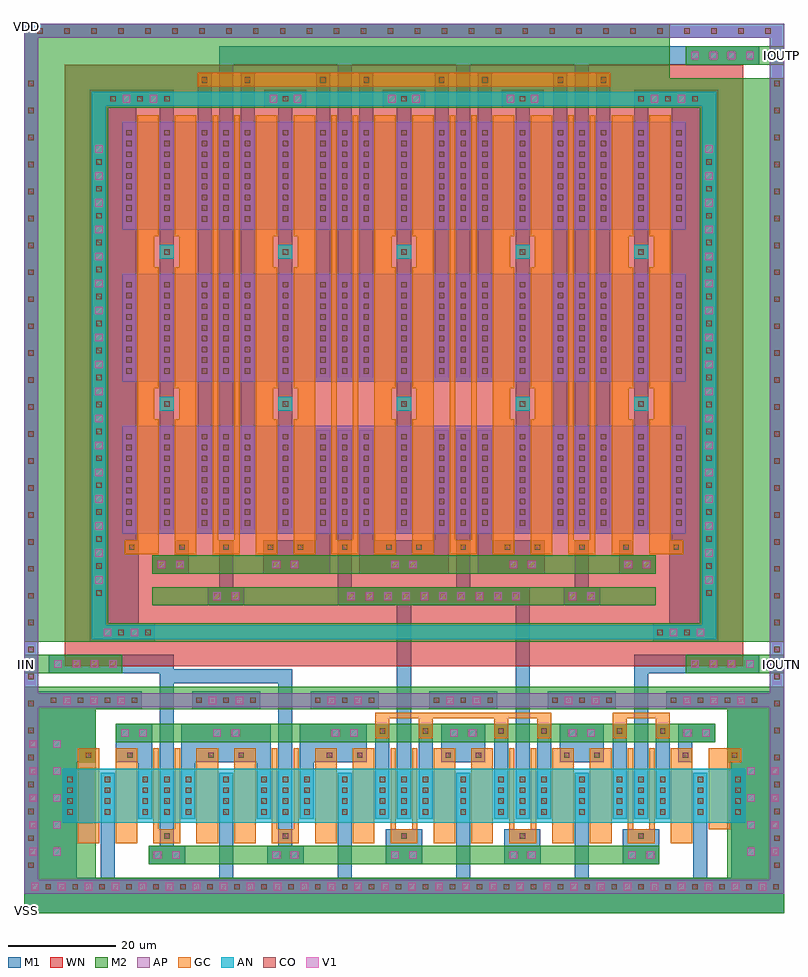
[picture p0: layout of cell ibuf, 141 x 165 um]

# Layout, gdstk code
import gdstk
lib = gdstk.Library(unit=1e-6, precision=1e-07)
def R(c, l, rs):  # rectangles x0, y0, x1, y1
    for r in rs: c.add(gdstk.rectangle(r[:2], r[2:], *l))
def A(c, l, x, y, w, h, nx, ny, dx, dy):  # array of equal rectangles
    R(c, l, [(x+i*dx, y+j*dy, x+i*dx+w, y+j*dy+h) for i in range(nx) for j in range(ny)])
def P(c, l, *ps):  # polygons
    for p in ps: c.add(gdstk.Polygon(p, *l))
AP = (3, 1)
AN = (3, 2)
GC = (8, 1)
CO = (11, 0)
M1 = (13, 0)
V1 = (19, 0)
M2 = (20, 0)
WN = (140, 0)

fet_n_2 = lib.new_cell('fet_n$2')
R(fet_n_2, AN, [(-5.3,-5,5.3,5)])
A(fet_n_2, CO, -4.5, -3.5, 1, 1, 3, 4, 4, 2)
A(fet_n_2, M1, -5.3, -4.3, 2.6, 8.6, 3, 1, 4, 0)
fet_n_2.add(gdstk.FlexPath([(2,-6.2),(2,6.2)], 1, ends="flush", simple_path=True, layer=8, datatype=1))  # GC
fet_n_2.add(gdstk.FlexPath([(-2,-6.2),(-2,6.2)], 1, ends="flush", simple_path=True, layer=8, datatype=1))  # GC

via_1 = lib.new_cell('via_1')
R(via_1, M1, [(-1.7,-1.7,1.7,1.7)])
R(via_1, V1, [(-0.7,-0.7,0.7,0.7)])
R(via_1, M2, [(-1.7,-1.7,1.7,1.7)])

cont_p = lib.new_cell('cont_p')
R(cont_p, AP, [(-1.3,-1.3,1.3,1.3)])
R(cont_p, CO, [(-0.5,-0.5,0.5,0.5)])
R(cont_p, M1, [(-1.3,-1.3,1.3,1.3)])

fet_p = lib.new_cell('fet_p')
R(fet_p, AP, [(-4.8,-10,4.8,10)])
A(fet_p, CO, -4, -8.5, 1, 1, 1, 9, 0, 2)
A(fet_p, CO, 3, -8.5, 1, 1, 1, 9, 0, 2)
R(fet_p, M1, [(-4.8,-9.3,-2.2,9.3), (2.2,-9.3,4.8,9.3)])
fet_p.add(gdstk.FlexPath([(0,-11.2),(0,11.2)], 4, ends="flush", simple_path=True, layer=8, datatype=1))  # GC

fet_p_2 = lib.new_cell('fet_p$2')
R(fet_p_2, AP, [(-5.3,-10,5.3,10)])
A(fet_p_2, CO, -4.5, -8.5, 1, 1, 3, 9, 4, 2)
A(fet_p_2, M1, -5.3, -9.3, 2.6, 18.6, 3, 1, 4, 0)
fet_p_2.add(gdstk.FlexPath([(2,-11.2),(2,11.2)], 1, ends="flush", simple_path=True, layer=8, datatype=1))  # GC
fet_p_2.add(gdstk.FlexPath([(-2,-11.2),(-2,11.2)], 1, ends="flush", simple_path=True, layer=8, datatype=1))  # GC

cont_n = lib.new_cell('cont_n')
R(cont_n, AN, [(-1.3,-1.3,1.3,1.3)])
R(cont_n, CO, [(-0.5,-0.5,0.5,0.5)])
R(cont_n, M1, [(-1.3,-1.3,1.3,1.3)])

cont_g = lib.new_cell('cont_g')
R(cont_g, GC, [(-1.3,-1.3,1.3,1.3)])
R(cont_g, CO, [(-0.5,-0.5,0.5,0.5)])
R(cont_g, M1, [(-1.3,-1.3,1.3,1.3)])

fet_n = lib.new_cell('fet_n')
R(fet_n, AN, [(-4.8,-5,4.8,5)])
A(fet_n, CO, -4, -3.5, 1, 1, 1, 4, 0, 2)
A(fet_n, CO, 3, -3.5, 1, 1, 1, 4, 0, 2)
R(fet_n, M1, [(-4.8,-4.3,-2.2,4.3), (2.2,-4.3,4.8,4.3)])
fet_n.add(gdstk.FlexPath([(0,-6.2),(0,6.2)], 4, ends="flush", simple_path=True, layer=8, datatype=1))  # GC

ibuf = lib.new_cell('ibuf')
P(ibuf, AP, [(0,3.6),(0,38.2),(2.6,38.2),(2.6,6.2),(138.4,6.2),(138.4,38.2),(0,38.2),(0,162.4),(2.6,162.4),(2.6,40.8),(138.4,40.8),(138.4,162.4),(0,162.4),(0,165),(141,165),(141,3.6)])
P(ibuf, AN, [(12.6,50.8),(12.6,149.8),(15.2,149.8),(15.2,53.4),(125.8,53.4),(125.8,149.8),(12.6,149.8),(12.6,152.4),(128.4,152.4),(128.4,50.8)])
R(ibuf, GC, [(10,13,14,30.6), (17,13,21,30.6), (32,13,36,30.6), (39,13,43,30.6), (54,13,58,30.6), (61,13,65,30.6), (76,13,80,30.6), (83,13,87,30.6), (98,13,102,30.6), (105,13,109,30.6), (120,13,124,30.6), (127,28,131,30.6), (21,66.6,25,69.2), (28,66.6,32,69.2), (43,66.6,47,69.2), (50,66.6,54,69.2), (65,66.6,69,69.2), (72,66.6,76,69.2), (87,66.6,91,69.2), (94,66.6,98,69.2), (109,66.6,113,69.2), (116,66.6,120,69.2), (21,91.6,24.2,125.6), (28.8,91.6,32,125.6), (43,91.6,46.2,125.6), (50.8,91.6,54,125.6), (65,91.6,68.2,125.6), (72.8,91.6,76,125.6), (87,91.6,90.2,125.6), (94.8,91.6,98,125.6), (109,91.6,112.2,125.6), (116.8,91.6,120,125.6), (32.2,153.3,108.8,155.9)])
P(ibuf, GC, [(24,13),(24,30.6),(25,30.6),(25,15.6),(28,15.6),(28,30.6),(29,30.6),(29,13)],
  [(35,66.6),(35,125.6),(36,125.6),(36,69.2),(39,69.2),(39,125.6),(40,125.6),(40,66.6)],
  [(65.2,32.5),(65.2,37.2),(97.8,37.2),(97.8,32.5),(95.2,32.5),(95.2,36.2),(89.8,36.2),(89.8,32.5),(87.2,32.5),(87.2,36.2),(75.8,36.2),(75.8,32.5),(73.2,32.5),(73.2,36.2),(67.8,36.2),(67.8,32.5)],
  [(101,66.6),(101,125.6),(102,125.6),(102,69.2),(105,69.2),(105,125.6),(106,125.6),(106,66.6)],
  [(46,13),(46,30.6),(47,30.6),(47,15.6),(50,15.6),(50,30.6),(51,30.6),(51,13)],
  [(68,13),(68,30.6),(69,30.6),(69,15.6),(72,15.6),(72,30.6),(73,30.6),(73,13)],
  [(90,13),(90,30.6),(91,30.6),(91,15.6),(94,15.6),(94,30.6),(95,30.6),(95,13)],
  [(112,13),(112,30.6),(113,30.6),(113,15.6),(116,15.6),(116,30.6),(117,30.6),(117,13)],
  [(109.2,32.5),(109.2,37.2),(119.8,37.2),(119.8,32.5),(117.2,32.5),(117.2,36.2),(111.8,36.2),(111.8,32.5)],
  [(79,66.6),(79,125.6),(80,125.6),(80,69.2),(83,69.2),(83,125.6),(84,125.6),(84,66.6)],
  [(57,66.6),(57,125.6),(58,125.6),(58,69.2),(61,69.2),(61,125.6),(62,125.6),(62,66.6)])
A(ibuf, M1, 14.2, 6.6, 2.6, 10.9, 6, 1, 22, 0)
A(ibuf, M1, 31.2, 37.8, 12.6, 3.4, 4, 1, 22, 0)
A(ibuf, M1, 25.2, 89.7, 2.6, 63.1, 5, 1, 22, 0)
R(ibuf, M1, [(67.1,9.1,73.9,15.6), (89.1,9.1,95.8,15.6), (111.1,9.1,117.9,15.6), (65.2,26.1,67.8,35.1), (73.2,26.1,75.8,35.1), (87.2,26.1,89.8,35.1), (95.2,26.1,97.8,35.1), (109.2,26.1,111.8,35.1), (117.2,26.1,119.8,35.1), (77.4,28,85.6,35.1), (99.4,28,107.6,35.1), (121.4,28,124,35.1), (36.2,57.1,38.8,69.2), (102.2,57.1,104.8,69.2), (28,63,30.6,69.2), (110.4,63,113,69.2), (32.2,89.7,34.8,155.9), (40.2,89.7,42.8,155.9), (98.2,89.7,100.8,155.9), (106.2,89.7,108.8,155.9), (54.2,117.9,56.8,155.9), (62.2,117.9,64.8,155.9), (76.2,117.9,78.8,155.9), (84.2,117.9,86.8,155.9)])
P(ibuf, M1, [(25.2,9.1),(25.2,44.5),(4.6,44.5),(4.6,47.9),(27.8,47.9),(27.8,45.3),(49.8,45.3),(49.8,9.1),(47.2,9.1),(47.2,42.7),(27.8,42.7),(27.8,9.1)],
  [(113.2,26.1),(113.2,47.9),(136.4,47.9),(136.4,44.5),(115.8,44.5),(115.8,26.1)],
  [(69.2,26.1),(69.2,57.1),(58.2,57.1),(58.2,71.1),(60.8,71.1),(60.8,60.5),(80.2,60.5),(80.2,71.1),(82.8,71.1),(82.8,60.5),(93.8,60.5),(93.8,26.1),(91.2,26.1),(91.2,57.1),(71.8,57.1),(71.8,26.1)],
  [(36.2,89.7),(36.2,160.8),(136.4,160.8),(136.4,157.4),(104.8,157.4),(104.8,89.7),(102.2,89.7),(102.2,157.4),(82.8,157.4),(82.8,117.9),(80.2,117.9),(80.2,157.4),(60.8,157.4),(60.8,117.9),(58.2,117.9),(58.2,157.4),(38.8,157.4),(38.8,89.7)],
  [(0,0),(0,162.4),(2.6,162.4),(2.6,41.2),(21.8,41.2),(21.8,37.8),(2.6,37.8),(2.6,6.6),(138.4,6.6),(138.4,37.8),(119.2,37.8),(119.2,41.2),(138.4,41.2),(138.4,162.4),(0,162.4),(0,165),(141,165),(141,0)],
  [(2.6,6.6),(2.6,37.8),(13.3,37.8),(13.3,28),(9.8,28),(9.8,6.6)],
  [(131.2,6.6),(131.2,28),(130.5,28),(130.5,37.8),(138.4,37.8),(138.4,6.6)],
  [(21.2,26.1),(21.2,28),(17,28),(17,35.1),(23.8,35.1),(23.8,26.1)],
  [(119.7,53.8),(119.7,69.2),(120.2,69.2),(120.2,152.8),(125.4,152.8),(125.4,53.8)],
  [(12.2,50.4),(12.2,152.8),(27.8,152.8),(27.8,149.4),(20.8,149.4),(20.8,69.2),(21.3,69.2),(21.3,53.8),(24.3,53.8),(24.3,50.4)],
  [(116.7,50.4),(116.7,53.8),(125.4,53.8),(125.4,149.4),(113.2,149.4),(113.2,152.8),(128.8,152.8),(128.8,50.4)],
  [(44.4,63),(44.4,69.2),(54.2,69.2),(54.2,71.1),(56.8,71.1),(56.8,63)],
  [(29.2,26.1),(29.2,35.1),(45.8,35.1),(45.8,26.1),(43.2,26.1),(43.2,28),(31.8,28),(31.8,26.1)],
  [(51.2,26.1),(51.2,35.1),(63.6,35.1),(63.6,28),(53.8,28),(53.8,26.1)],
  [(62.2,63),(62.2,71.1),(64.8,71.1),(64.8,69.2),(76.2,69.2),(76.2,71.1),(78.8,71.1),(78.8,63)],
  [(84.2,63),(84.2,71.1),(86.8,71.1),(86.8,69.2),(96.6,69.2),(96.6,63)])
R(ibuf, M2, [(23.1,9.1,117.9,12.5), (17,31.7,128.2,35.1), (0,44.5,18.2,47.9), (122.8,44.5,141,47.9), (23.8,57.1,117.2,60.5), (23.8,63,117.2,66.4), (122.8,157.4,141,160.8)])
P(ibuf, M2, [(0,50.4),(0,149.4),(15.6,149.4),(15.6,53.8),(125.4,53.8),(125.4,149.4),(0,149.4),(0,165),(119.8,165),(119.8,154.9),(141,154.9),(141,50.4)],
  [(0,0),(0,37.8),(13.3,37.8),(13.3,6.6),(130.5,6.6),(130.5,37.8),(0,37.8),(0,42),(141,42),(141,0)])
R(ibuf, WN, [(7.6,45.8,133.4,157.4)])
ibuf.add(gdstk.Reference(fet_n_2, (70.5,21.8)))
r = gdstk.Reference(via_1, (68.8,10.8)); r.repetition = gdstk.Repetition(2, 1, v1=(3.4,0), v2=(0,0)); ibuf.add(r)
r = gdstk.Reference(cont_p, (1.3,8.9)); r.repetition = gdstk.Repetition(1, 30, v1=(0,0), v2=(0,5)); ibuf.add(r)
r = gdstk.Reference(cont_p, (139.7,8.9)); r.repetition = gdstk.Repetition(1, 30, v1=(0,0), v2=(0,5)); ibuf.add(r)
ibuf.add(gdstk.Reference(fet_p, (30,80.4)))
ibuf.add(gdstk.Reference(fet_p_2, (37.5,80.4)))
ibuf.add(gdstk.Reference(fet_p, (23,80.4)))
ibuf.add(gdstk.Reference(fet_p, (45,80.4)))
ibuf.add(gdstk.Reference(fet_p, (52,80.4)))
ibuf.add(gdstk.Reference(fet_p_2, (59.5,80.4)))
ibuf.add(gdstk.Reference(fet_p, (67,80.4)))
ibuf.add(gdstk.Reference(fet_p, (74,80.4)))
ibuf.add(gdstk.Reference(fet_p_2, (81.5,80.4)))
ibuf.add(gdstk.Reference(fet_p, (89,80.4)))
ibuf.add(gdstk.Reference(fet_p, (96,80.4)))
ibuf.add(gdstk.Reference(fet_p_2, (103.5,80.4)))
ibuf.add(gdstk.Reference(fet_p, (111,80.4)))
ibuf.add(gdstk.Reference(fet_p, (118,80.4)))
ibuf.add(gdstk.Reference(fet_p, (67,108.6)))
ibuf.add(gdstk.Reference(fet_p, (74,108.6)))
ibuf.add(gdstk.Reference(fet_p, (67,136.8)))
ibuf.add(gdstk.Reference(fet_p, (74,136.8)))
r = gdstk.Reference(cont_n, (26.5,94.5)); r.repetition = gdstk.Repetition(5, 2, v1=(22,0), v2=(0,28.2)); ibuf.add(r)
r = gdstk.Reference(cont_p, (4.5,4.9)); r.repetition = gdstk.Repetition(28, 1, v1=(5,0), v2=(0,0)); ibuf.add(r)
r = gdstk.Reference(via_1, (2,4.9)); r.repetition = gdstk.Repetition(28, 1, v1=(5,0), v2=(0,0)); ibuf.add(r)
r = gdstk.Reference(cont_n, (70.5,151.1)); r.repetition = gdstk.Repetition(1, 1, v1=(0,0), v2=(0,0)); ibuf.add(r)
r = gdstk.Reference(via_1, (68.3,151.1)); r.repetition = gdstk.Repetition(2, 1, v1=(4.4,0), v2=(0,0)); ibuf.add(r)
r = gdstk.Reference(cont_n, (13.9,59.4)); r.repetition = gdstk.Repetition(1, 17, v1=(0,0), v2=(0,5)); ibuf.add(r)
r = gdstk.Reference(via_1, (13.9,61.8)); r.repetition = gdstk.Repetition(1, 17, v1=(0,0), v2=(0,5)); ibuf.add(r)
r = gdstk.Reference(cont_n, (127.1,59.4)); r.repetition = gdstk.Repetition(1, 17, v1=(0,0), v2=(0,5)); ibuf.add(r)
r = gdstk.Reference(via_1, (127.1,61.8)); r.repetition = gdstk.Repetition(1, 17, v1=(0,0), v2=(0,5)); ibuf.add(r)
r = gdstk.Reference(cont_p, (3,163.7)); r.repetition = gdstk.Repetition(28, 1, v1=(5,0), v2=(0,0)); ibuf.add(r)
r = gdstk.Reference(cont_g, (66.5,33.8)); r.repetition = gdstk.Repetition(2, 1, v1=(8,0), v2=(0,0)); ibuf.add(r)
ibuf.add(gdstk.Reference(cont_g, (70.5,14.3)))
r = gdstk.Reference(via_1, (68.8,64.7)); r.repetition = gdstk.Repetition(2, 1, v1=(3.4,0), v2=(0,0)); ibuf.add(r)
r = gdstk.Reference(via_1, (60.7,58.8)); r.repetition = gdstk.Repetition(10, 1, v1=(3.4,0), v2=(0,0)); ibuf.add(r)
ibuf.add(gdstk.Reference(fet_p, (118,136.8)))
r = gdstk.Reference(cont_g, (77.5,154.6)); r.repetition = gdstk.Repetition(2, 1, v1=(8,0), v2=(0,0)); ibuf.add(r)
ibuf.add(gdstk.Reference(fet_p_2, (81.5,108.6)))
ibuf.add(gdstk.Reference(fet_p, (89,108.6)))
ibuf.add(gdstk.Reference(fet_p, (96,108.6)))
ibuf.add(gdstk.Reference(fet_p_2, (103.5,108.6)))
r = gdstk.Reference(cont_n, (92.5,151.1)); r.repetition = gdstk.Repetition(1, 1, v1=(0,0), v2=(0,0)); ibuf.add(r)
r = gdstk.Reference(via_1, (90.3,151.1)); r.repetition = gdstk.Repetition(2, 1, v1=(4.4,0), v2=(0,0)); ibuf.add(r)
ibuf.add(gdstk.Reference(fet_p, (111,108.6)))
ibuf.add(gdstk.Reference(fet_p, (118,108.6)))
r = gdstk.Reference(cont_g, (99.5,154.6)); r.repetition = gdstk.Repetition(2, 1, v1=(8,0), v2=(0,0)); ibuf.add(r)
r = gdstk.Reference(cont_n, (114.5,151.1)); r.repetition = gdstk.Repetition(3, 1, v1=(5,0), v2=(0,0)); ibuf.add(r)
ibuf.add(gdstk.Reference(fet_p_2, (81.5,136.8)))
r = gdstk.Reference(via_1, (124.5,159.1)); r.repetition = gdstk.Repetition(4, 1, v1=(3.4,0), v2=(0,0)); ibuf.add(r)
r = gdstk.Reference(via_1, (117,151.1)); r.repetition = gdstk.Repetition(2, 1, v1=(5,0), v2=(0,0)); ibuf.add(r)
ibuf.add(gdstk.Reference(fet_p, (89,136.8)))
ibuf.add(gdstk.Reference(fet_p, (96,136.8)))
ibuf.add(gdstk.Reference(fet_p_2, (103.5,136.8)))
ibuf.add(gdstk.Reference(fet_p, (111,136.8)))
ibuf.add(gdstk.Reference(fet_p, (30,108.6)))
ibuf.add(gdstk.Reference(fet_p_2, (37.5,108.6)))
ibuf.add(gdstk.Reference(fet_p, (23,108.6)))
ibuf.add(gdstk.Reference(fet_p, (45,108.6)))
ibuf.add(gdstk.Reference(fet_p, (30,136.8)))
ibuf.add(gdstk.Reference(fet_p_2, (37.5,136.8)))
ibuf.add(gdstk.Reference(fet_p, (23,136.8)))
ibuf.add(gdstk.Reference(fet_p, (45,136.8)))
ibuf.add(gdstk.Reference(fet_p, (52,136.8)))
ibuf.add(gdstk.Reference(fet_p_2, (59.5,136.8)))
ibuf.add(gdstk.Reference(fet_p, (52,108.6)))
ibuf.add(gdstk.Reference(fet_p_2, (59.5,108.6)))
r = gdstk.Reference(cont_n, (16.5,151.1)); r.repetition = gdstk.Repetition(3, 1, v1=(5,0), v2=(0,0)); ibuf.add(r)
r = gdstk.Reference(via_1, (19,151.1)); r.repetition = gdstk.Repetition(2, 1, v1=(5,0), v2=(0,0)); ibuf.add(r)
r = gdstk.Reference(cont_g, (55.5,154.6)); r.repetition = gdstk.Repetition(2, 1, v1=(8,0), v2=(0,0)); ibuf.add(r)
r = gdstk.Reference(via_1, (46.3,151.1)); r.repetition = gdstk.Repetition(2, 1, v1=(4.4,0), v2=(0,0)); ibuf.add(r)
r = gdstk.Reference(cont_n, (48.5,151.1)); r.repetition = gdstk.Repetition(1, 1, v1=(0,0), v2=(0,0)); ibuf.add(r)
r = gdstk.Reference(cont_g, (33.5,154.6)); r.repetition = gdstk.Repetition(2, 1, v1=(8,0), v2=(0,0)); ibuf.add(r)
ibuf.add(gdstk.Reference(fet_n, (12,21.8)))
ibuf.add(gdstk.Reference(cont_g, (12,29.3)))
r = gdstk.Reference(cont_g, (19.7,29.3)); r.repetition = gdstk.Repetition(1, 1, v1=(0,0), v2=(0,0)); ibuf.add(r)
r = gdstk.Reference(cont_g, (40.3,29.3)); r.repetition = gdstk.Repetition(1, 1, v1=(0,0), v2=(0,0)); ibuf.add(r)
r = gdstk.Reference(cont_g, (56.7,29.3)); r.repetition = gdstk.Repetition(1, 1, v1=(0,0), v2=(0,0)); ibuf.add(r)
r = gdstk.Reference(cont_g, (62.3,29.3)); r.repetition = gdstk.Repetition(1, 1, v1=(0,0), v2=(0,0)); ibuf.add(r)
ibuf.add(gdstk.Reference(fet_n, (19,21.8)))
ibuf.add(gdstk.Reference(cont_g, (48.5,14.3)))
ibuf.add(gdstk.Reference(cont_g, (29.3,67.9)))
ibuf.add(gdstk.Reference(fet_n_2, (26.5,21.8)))
r = gdstk.Reference(cont_p, (5.5,39.5)); r.repetition = gdstk.Repetition(4, 1, v1=(5,0), v2=(0,0)); ibuf.add(r)
r = gdstk.Reference(via_1, (15.5,52.1)); r.repetition = gdstk.Repetition(2, 1, v1=(5,0), v2=(0,0)); ibuf.add(r)
r = gdstk.Reference(cont_n, (18,52.1)); r.repetition = gdstk.Repetition(2, 1, v1=(5,0), v2=(0,0)); ibuf.add(r)
ibuf.add(gdstk.Reference(fet_n, (34,21.8)))
r = gdstk.Reference(cont_p, (32.5,39.5)); r.repetition = gdstk.Repetition(3, 1, v1=(5,0), v2=(0,0)); ibuf.add(r)
ibuf.add(gdstk.Reference(fet_n, (41,21.8)))
ibuf.add(gdstk.Reference(cont_g, (20,67.9)))
ibuf.add(gdstk.Reference(fet_n_2, (48.5,21.8)))
r = gdstk.Reference(cont_p, (54.5,39.5)); r.repetition = gdstk.Repetition(3, 1, v1=(5,0), v2=(0,0)); ibuf.add(r)
ibuf.add(gdstk.Reference(fet_n, (56,21.8)))
r = gdstk.Reference(via_1, (1.7,11.4)); r.repetition = gdstk.Repetition(2, 5, v1=(4.4,0), v2=(0,5)); ibuf.add(r)
r = gdstk.Reference(via_1, (6.3,46.2)); r.repetition = gdstk.Repetition(4, 1, v1=(3.4,0), v2=(0,0)); ibuf.add(r)
r = gdstk.Reference(via_1, (18.7,33.4)); r.repetition = gdstk.Repetition(2, 1, v1=(3.4,0), v2=(0,0)); ibuf.add(r)
r = gdstk.Reference(via_1, (35.8,33.4)); r.repetition = gdstk.Repetition(2, 1, v1=(3.4,0), v2=(0,0)); ibuf.add(r)
r = gdstk.Reference(via_1, (57.8,33.4)); r.repetition = gdstk.Repetition(2, 1, v1=(3.4,0), v2=(0,0)); ibuf.add(r)
ibuf.add(gdstk.Reference(fet_n, (63,21.8)))
r = gdstk.Reference(cont_g, (34.7,29.3)); r.repetition = gdstk.Repetition(1, 1, v1=(0,0), v2=(0,0)); ibuf.add(r)
r = gdstk.Reference(via_1, (24.8,10.8)); r.repetition = gdstk.Repetition(2, 1, v1=(3.4,0), v2=(0,0)); ibuf.add(r)
r = gdstk.Reference(via_1, (46.8,10.8)); r.repetition = gdstk.Repetition(2, 1, v1=(3.4,0), v2=(0,0)); ibuf.add(r)
ibuf.add(gdstk.Reference(cont_g, (26.5,14.3)))
r = gdstk.Reference(via_1, (8,39.5)); r.repetition = gdstk.Repetition(3, 1, v1=(5,0), v2=(0,0)); ibuf.add(r)
r = gdstk.Reference(via_1, (35,39.5)); r.repetition = gdstk.Repetition(2, 1, v1=(5,0), v2=(0,0)); ibuf.add(r)
ibuf.add(gdstk.Reference(cont_g, (67.7,67.9)))
r = gdstk.Reference(via_1, (25.5,64.7)); r.repetition = gdstk.Repetition(2, 1, v1=(3.4,0), v2=(0,0)); ibuf.add(r)
ibuf.add(gdstk.Reference(cont_g, (51.3,67.9)))
ibuf.add(gdstk.Reference(cont_g, (45.7,67.9)))
r = gdstk.Reference(via_1, (46.8,64.7)); r.repetition = gdstk.Repetition(2, 1, v1=(3.4,0), v2=(0,0)); ibuf.add(r)
ibuf.add(gdstk.Reference(cont_g, (37.5,67.9)))
r = gdstk.Reference(via_1, (35.8,58.8)); r.repetition = gdstk.Repetition(2, 1, v1=(3.4,0), v2=(0,0)); ibuf.add(r)
r = gdstk.Reference(via_1, (57,39.5)); r.repetition = gdstk.Repetition(2, 1, v1=(5,0), v2=(0,0)); ibuf.add(r)
ibuf.add(gdstk.Reference(cont_g, (59.5,67.9)))
ibuf.add(gdstk.Reference(cont_g, (121,67.9)))
ibuf.add(gdstk.Reference(fet_n_2, (114.5,21.8)))
r = gdstk.Reference(cont_g, (78.7,29.3)); r.repetition = gdstk.Repetition(1, 1, v1=(0,0), v2=(0,0)); ibuf.add(r)
r = gdstk.Reference(cont_g, (84.3,29.3)); r.repetition = gdstk.Repetition(1, 1, v1=(0,0), v2=(0,0)); ibuf.add(r)
r = gdstk.Reference(cont_g, (100.7,29.3)); r.repetition = gdstk.Repetition(1, 1, v1=(0,0), v2=(0,0)); ibuf.add(r)
r = gdstk.Reference(cont_g, (106.3,29.3)); r.repetition = gdstk.Repetition(1, 1, v1=(0,0), v2=(0,0)); ibuf.add(r)
r = gdstk.Reference(cont_g, (122.7,29.3)); r.repetition = gdstk.Repetition(1, 1, v1=(0,0), v2=(0,0)); ibuf.add(r)
r = gdstk.Reference(cont_p, (76.5,39.5)); r.repetition = gdstk.Repetition(3, 1, v1=(5,0), v2=(0,0)); ibuf.add(r)
r = gdstk.Reference(cont_p, (98.5,39.5)); r.repetition = gdstk.Repetition(3, 1, v1=(5,0), v2=(0,0)); ibuf.add(r)
r = gdstk.Reference(via_1, (79.8,33.4)); r.repetition = gdstk.Repetition(2, 1, v1=(3.4,0), v2=(0,0)); ibuf.add(r)
r = gdstk.Reference(via_1, (101.8,33.4)); r.repetition = gdstk.Repetition(2, 1, v1=(3.4,0), v2=(0,0)); ibuf.add(r)
r = gdstk.Reference(via_1, (123.1,33.4)); r.repetition = gdstk.Repetition(2, 1, v1=(3.4,0), v2=(0,0)); ibuf.add(r)
r = gdstk.Reference(cont_p, (120.5,39.5)); r.repetition = gdstk.Repetition(4, 1, v1=(5,0), v2=(0,0)); ibuf.add(r)
ibuf.add(gdstk.Reference(fet_n, (122,21.8)))
r = gdstk.Reference(cont_g, (88.5,33.8)); r.repetition = gdstk.Repetition(2, 1, v1=(8,0), v2=(0,0)); ibuf.add(r)
r = gdstk.Reference(cont_g, (110.5,33.8)); r.repetition = gdstk.Repetition(2, 1, v1=(8,0), v2=(0,0)); ibuf.add(r)
ibuf.add(gdstk.Reference(fet_n, (129,21.8)))
ibuf.add(gdstk.Reference(fet_n, (78,21.8)))
r = gdstk.Reference(via_1, (120.5,52.1)); r.repetition = gdstk.Repetition(2, 1, v1=(5,0), v2=(0,0)); ibuf.add(r)
r = gdstk.Reference(cont_n, (118,52.1)); r.repetition = gdstk.Repetition(2, 1, v1=(5,0), v2=(0,0)); ibuf.add(r)
r = gdstk.Reference(via_1, (90.8,10.8)); r.repetition = gdstk.Repetition(2, 1, v1=(3.4,0), v2=(0,0)); ibuf.add(r)
ibuf.add(gdstk.Reference(cont_g, (92.5,14.3)))
r = gdstk.Reference(via_1, (112.8,10.8)); r.repetition = gdstk.Repetition(2, 1, v1=(3.4,0), v2=(0,0)); ibuf.add(r)
ibuf.add(gdstk.Reference(cont_g, (114.5,14.3)))
ibuf.add(gdstk.Reference(fet_n, (85,21.8)))
ibuf.add(gdstk.Reference(cont_g, (73.3,67.9)))
ibuf.add(gdstk.Reference(fet_n_2, (92.5,21.8)))
r = gdstk.Reference(via_1, (79,39.5)); r.repetition = gdstk.Repetition(2, 1, v1=(5,0), v2=(0,0)); ibuf.add(r)
r = gdstk.Reference(via_1, (101,39.5)); r.repetition = gdstk.Repetition(2, 1, v1=(5,0), v2=(0,0)); ibuf.add(r)
r = gdstk.Reference(via_1, (123,39.5)); r.repetition = gdstk.Repetition(3, 1, v1=(5,0), v2=(0,0)); ibuf.add(r)
r = gdstk.Reference(via_1, (90.8,64.7)); r.repetition = gdstk.Repetition(2, 1, v1=(3.4,0), v2=(0,0)); ibuf.add(r)
ibuf.add(gdstk.Reference(cont_g, (95.3,67.9)))
ibuf.add(gdstk.Reference(cont_g, (89.7,67.9)))
ibuf.add(gdstk.Reference(cont_g, (111.7,67.9)))
r = gdstk.Reference(via_1, (112.1,64.7)); r.repetition = gdstk.Repetition(2, 1, v1=(3.4,0), v2=(0,0)); ibuf.add(r)
ibuf.add(gdstk.Reference(fet_n, (100,21.8)))
r = gdstk.Reference(via_1, (124.5,46.2)); r.repetition = gdstk.Repetition(4, 1, v1=(3.4,0), v2=(0,0)); ibuf.add(r)
ibuf.add(gdstk.Reference(fet_n, (107,21.8)))
ibuf.add(gdstk.Reference(cont_g, (103.5,67.9)))
r = gdstk.Reference(via_1, (101.8,58.8)); r.repetition = gdstk.Repetition(2, 1, v1=(3.4,0), v2=(0,0)); ibuf.add(r)
ibuf.add(gdstk.Reference(cont_g, (81.5,67.9)))
ibuf.add(gdstk.Reference(cont_g, (131.8,29.3)))
r = gdstk.Reference(via_1, (134.9,11.4)); r.repetition = gdstk.Repetition(2, 4, v1=(4.4,0), v2=(0,5)); ibuf.add(r)
ibuf.add(gdstk.Label('IIN', (0.5,46.2), layer=49, texttype=0))
ibuf.add(gdstk.Label('IOUTN', (140.5,46.2), layer=49, texttype=0))
ibuf.add(gdstk.Label('IOUTP', (140.5,159.1), layer=49, texttype=0))
ibuf.add(gdstk.Label('VDD', (0.5,164.5), layer=49, texttype=0))
ibuf.add(gdstk.Label('VSS', (0.5,0.5), layer=49, texttype=0))

lib.write_gds('ibuf.gds')
